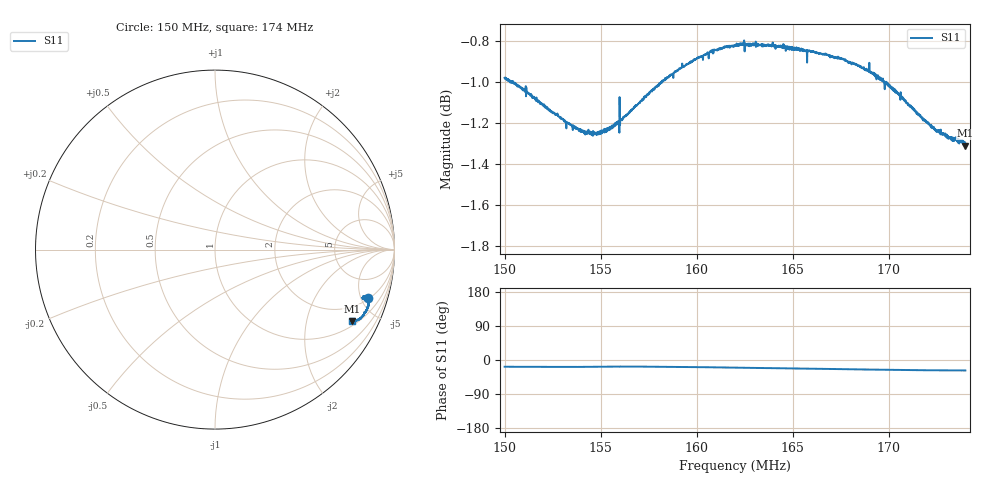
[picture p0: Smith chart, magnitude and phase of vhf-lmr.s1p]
! Calibrated averaged scanner-service zoom
# Hz S RI R 50
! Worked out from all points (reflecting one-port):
!   2001 points, 150 MHz to 174 MHz, reference 50 ohm
!   lowest |S11| = -1.3 dB at 174 MHz (marker M1), VSWR 13.27, Z = 60.2 - j185 ohm
!   phase of S11 starts at -18 deg and turns -10 deg over the sweep
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1.5e8  0.8508 -0.2717
1.512e8  0.8416 -0.2762
1.52244e8  0.8329 -0.2765
1.53e8  0.8281 -0.2756
1.53924e8  0.8235 -0.2711
1.54704e8  0.8237 -0.266
1.5534e8  0.8278 -0.2623
1.56e8  0.8379 -0.2592
1.56564e8  0.8368 -0.2612
1.5726e8  0.8426 -0.2648
1.58172e8  0.849 -0.2716
1.59e8  0.8523 -0.2792
1.59936e8  0.8547 -0.2889
1.60668e8  0.8557 -0.2976
1.60944e8  0.856 -0.3011
1.62e8  0.8538 -0.3135
1.6236e8  0.8524 -0.3178
1.6386e8  0.8463 -0.3333
1.65e8  0.8404 -0.3453
1.66728e8  0.8302 -0.3611
1.68e8  0.8201 -0.3731
1.68972e8  0.8109 -0.3815
1.69956e8  0.8006 -0.3903
1.71e8  0.7866 -0.3949
1.72368e8  0.7731 -0.3965
1.73256e8  0.7664 -0.3974
1.73976e8  0.7615 -0.3994
1.74e8  0.7624 -0.3999
